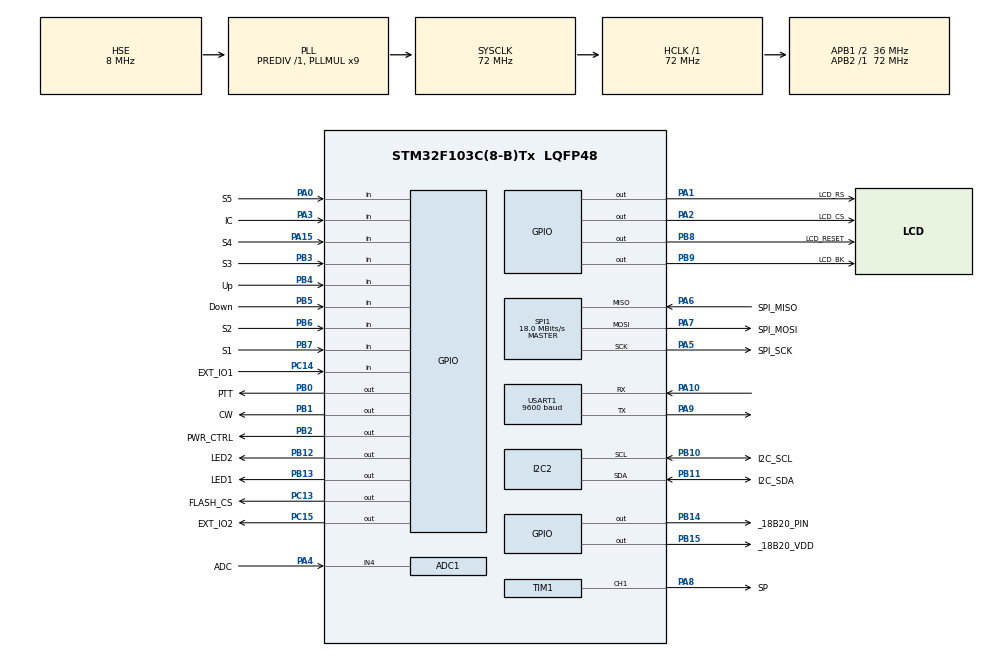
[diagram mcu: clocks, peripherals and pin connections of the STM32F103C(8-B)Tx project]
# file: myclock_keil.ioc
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ADC1.Channel-0\#ChannelRegularConversion=ADC_CHANNEL_TEMPSENSOR
ADC1.NbrOfConversionFlag=1
ADC1.Rank-0\#ChannelRegularConversion=1
ADC1.SamplingTime-0\#ChannelRegularConversion=ADC_SAMPLETIME_1CYCLE_5
ADC1.master=1
Dma.Request0=USART1_TX
Dma.Request1=USART1_RX
Dma.USART1_RX.1.Direction=DMA_PERIPH_TO_MEMORY
Dma.USART1_RX.1.Instance=DMA1_Channel5
Dma.USART1_RX.1.MemDataAlignment=DMA_MDATAALIGN_BYTE
Dma.USART1_RX.1.MemInc=DMA_MINC_ENABLE
Dma.USART1_RX.1.Mode=DMA_NORMAL
Dma.USART1_RX.1.PeriphDataAlignment=DMA_PDATAALIGN_BYTE
Dma.USART1_RX.1.PeriphInc=DMA_PINC_DISABLE
Dma.USART1_RX.1.Priority=DMA_PRIORITY_LOW
Dma.USART1_TX.0.Direction=DMA_MEMORY_TO_PERIPH
Dma.USART1_TX.0.Instance=DMA1_Channel4
Dma.USART1_TX.0.MemDataAlignment=DMA_MDATAALIGN_BYTE
Dma.USART1_TX.0.MemInc=DMA_MINC_ENABLE
Dma.USART1_TX.0.Mode=DMA_NORMAL
Dma.USART1_TX.0.PeriphDataAlignment=DMA_PDATAALIGN_BYTE
Dma.USART1_TX.0.PeriphInc=DMA_PINC_DISABLE
Dma.USART1_TX.0.Priority=DMA_PRIORITY_LOW
Mcu.Family=STM32F1
Mcu.Name=STM32F103C(8-B)Tx
Mcu.Package=LQFP48
NVIC.DMA1_Channel4_IRQn=true\:0\:0\:false\:false\:true\:false\:true\:true
NVIC.DMA1_Channel5_IRQn=true\:0\:0\:false\:false\:true\:false\:true\:true
NVIC.PriorityGroup=NVIC_PRIORITYGROUP_4
NVIC.USART1_IRQn=true\:0\:0\:false\:false\:true\:true\:true\:true
PA0-WKUP.GPIO_Label=S5
PA0-WKUP.GPIO_PuPd=GPIO_PULLDOWN
PA0-WKUP.Signal=GPIO_Input
PA1.GPIO_Label=LCD_RS
PA1.Signal=GPIO_Output
PA10.Mode=Asynchronous
PA10.Signal=USART1_RX
PA13.GPIO_Label=SWDIO
PA13.Mode=Serial_Wire
PA13.Signal=SYS_JTMS-SWDIO
PA14.GPIO_Label=SWCLK
PA14.Mode=Serial_Wire
PA14.Signal=SYS_JTCK-SWCLK
PA15.GPIO_Label=S4
PA15.GPIO_PuPd=GPIO_PULLDOWN
PA15.Signal=GPIO_Input
PA2.GPIO_Label=LCD_CS
PA2.Signal=GPIO_Output
PA3.GPIO_Label=IC
PA3.GPIO_PuPd=GPIO_PULLDOWN
PA3.Signal=GPIO_Input
PA4.GPIO_Label=ADC
PA4.Signal=ADCx_IN4
PA5.GPIO_Label=SPI_SCK
PA5.Mode=Full_Duplex_Master
PA5.Signal=SPI1_SCK
PA6.GPIO_Label=SPI_MISO
PA6.Mode=Full_Duplex_Master
PA6.Signal=SPI1_MISO
PA7.GPIO_Label=SPI_MOSI
PA7.Mode=Full_Duplex_Master
PA7.Signal=SPI1_MOSI
PA8.GPIO_Label=SP
PA8.Signal=S_TIM1_CH1
PA9.Mode=Asynchronous
PA9.Signal=USART1_TX
PB0.GPIO_Label=PTT
PB0.Signal=GPIO_Output
PB1.GPIO_Label=CW
PB1.Signal=GPIO_Output
PB10.GPIO_Label=I2C_SCL
PB10.GPIO_Pu=GPIO_PULLUP
PB10.Mode=I2C
PB10.Signal=I2C2_SCL
PB11.GPIO_Label=I2C_SDA
PB11.GPIO_Pu=GPIO_PULLUP
PB11.Mode=I2C
PB11.Signal=I2C2_SDA
PB12.GPIO_Label=LED2
PB12.Signal=GPIO_Output
PB13.GPIO_Label=LED1
PB13.Signal=GPIO_Output
PB14.GPIO_Label=_18B20_PIN
PB14.Signal=GPIO_Output
PB15.GPIO_Label=_18B20_VDD
PB15.Signal=GPIO_Output
PB2.GPIO_Label=PWR_CTRL
PB2.PinState=GPIO_PIN_SET
PB2.Signal=GPIO_Output
PB3.GPIO_Label=S3
PB3.GPIO_PuPd=GPIO_PULLDOWN
PB3.Signal=GPIO_Input
PB4.GPIO_Label=Up
PB4.GPIO_PuPd=GPIO_PULLDOWN
PB4.Signal=GPIO_Input
PB5.GPIO_Label=Down
PB5.GPIO_PuPd=GPIO_PULLDOWN
PB5.Signal=GPIO_Input
PB6.GPIO_Label=S2
PB6.GPIO_PuPd=GPIO_PULLDOWN
PB6.Signal=GPIO_Input
PB7.GPIO_Label=S1
PB7.GPIO_PuPd=GPIO_PULLDOWN
PB7.Signal=GPIO_Input
PB8.GPIO_Label=LCD_RESET
PB8.Signal=GPIO_Output
PB9.GPIO_Label=LCD_BK
PB9.Signal=GPIO_Output
PC13-TAMPER-RTC.GPIO_Label=FLASH_CS
PC13-TAMPER-RTC.GPIO_Speed=GPIO_SPEED_FREQ_HIGH
PC13-TAMPER-RTC.PinState=GPIO_PIN_SET
PC13-TAMPER-RTC.Signal=GPIO_Output
PC14-OSC32_IN.GPIO_Label=EXT_IO1
PC14-OSC32_IN.GPIO_PuPd=GPIO_PULLUP
PC14-OSC32_IN.Signal=GPIO_Input
PC15-OSC32_OUT.GPIO_Label=EXT_IO2
PC15-OSC32_OUT.GPIO_PuPd=GPIO_NOPULL
PC15-OSC32_OUT.GPIO_Speed=GPIO_SPEED_FREQ_MEDIUM
PC15-OSC32_OUT.PinState=GPIO_PIN_RESET
PC15-OSC32_OUT.Signal=GPIO_Output
PD0-OSC_IN.GPIO_Label=OSC_IN
PD0-OSC_IN.Mode=HSE-External-Oscillator
PD0-OSC_IN.Signal=RCC_OSC_IN
PD1-OSC_OUT.GPIO_Label=OSC_OUT
PD1-OSC_OUT.Mode=HSE-External-Oscillator
PD1-OSC_OUT.Signal=RCC_OSC_OUT
ProjectManager.HeapSize=0x200
ProjectManager.StackSize=0x400
ProjectManager.TargetToolchain=MDK-ARM V5.32
RCC.ADCPresc=RCC_ADCPCLK2_DIV6
RCC.AHBFreq_Value=72000000
RCC.APB1CLKDivider=RCC_HCLK_DIV2
RCC.APB1Freq_Value=36000000
RCC.APB1TimFreq_Value=72000000
RCC.APB2Freq_Value=72000000
RCC.APB2TimFreq_Value=72000000
RCC.HCLKFreq_Value=72000000
RCC.PLLMUL=RCC_PLL_MUL9
RCC.PLLSourceVirtual=RCC_PLLSOURCE_HSE
RCC.SYSCLKFreq_VALUE=72000000
RCC.SYSCLKSource=RCC_SYSCLKSOURCE_PLLCLK
RCC.USBFreq_Value=72000000
SH.ADCx_IN4.0=ADC1_IN4,IN4
SH.S_TIM1_CH1.0=TIM1_CH1,Output Compare1 CH1
SPI1.BaudRatePrescaler=SPI_BAUDRATEPRESCALER_4
SPI1.CalculateBaudRate=18.0 MBits/s
SPI1.Direction=SPI_DIRECTION_2LINES
SPI1.Mode=SPI_MODE_MASTER
SPI1.VirtualType=VM_MASTER
TIM1.Channel-Output\ Compare1\ CH1=TIM_CHANNEL_1
TIM1.OCMode_1=TIM_OCMODE_TOGGLE
TIM1.Period=1000
TIM1.Prescaler=72-1
USART1.BaudRate=9600
USART1.VirtualMode=VM_ASYNC
VP_ADC1_TempSens_Input.Mode=IN-TempSens
VP_ADC1_Vref_Input.Mode=IN-Vrefint
VP_TIM1_VS_ClockSourceINT.Mode=Internal
board=custom

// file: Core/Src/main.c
/* USER CODE BEGIN Header */
/**
  ******************************************************************************
  * @file           : main.c
  * @brief          : Main program body
  ******************************************************************************
  * @attention
  *
  * <h2><center>&copy; Copyright (c) 2021 STMicroelectronics.
  * All rights reserved.</center></h2>
  *
  * This software component is licensed by ST under BSD 3-Clause license,
  * the "License"; You may not use this file except in compliance with the
  * License. You may obtain a copy of the License at:
  *                        opensource.org/licenses/BSD-3-Clause
  *
  ******************************************************************************
  */
/* USER CODE END Header */
#include "main.h"
#include "adc.h"
#include "dma.h"
#include "i2c.h"
#include "spi.h"
#include "tim.h"
#include "usart.h"
#include "gpio.h"

/* USER CODE BEGIN Includes */
//#include "stdio.h"
//#include <stdlib.h>
#include "SD3078_rtc_task.h"
#include "ds18b20_task.h"
#include "Thermometer.h"
//#include "Lcd_Driver.h"
#include "GUI.h"
/* USER CODE END Includes */

void SystemClock_Config(void);
/* USER CODE BEGIN PFP */

//void DS18B20_function_set(void);
/* USER CODE END PFP */

int main(void)
{

  /* MCU Configuration--------------------------------------------------------*/

  /* Reset of all peripherals, Initializes the Flash interface and the Systick. */
  HAL_Init();

  /* Configure the system clock */
  SystemClock_Config();

  /* USER CODE BEGIN SysInit */
  SCB->VTOR = 0x08005000U;
  /* USER CODE END SysInit */

  /* Initialize all configured peripherals */
  MX_GPIO_Init();
  MX_DMA_Init();
  MX_I2C2_Init();
  MX_SPI1_Init();
  MX_TIM1_Init();
  MX_ADC1_Init();
  MX_USART1_UART_Init();
  /* USER CODE BEGIN 2 */
  MyClock_Init();
  /* USER CODE END 2 */

  /* Infinite loop */
  /* USER CODE BEGIN WHILE */

  while (1)
  {
	  /* Refresh display of time every second */
	  uint32_t old_second;
	  if(T_1000ms > old_second){
		Show_time(m.STATUS,0);
		old_second = T_1000ms;
	  }

	  /* Detect alarm and how to handle */
	  if(Read_RTC_int()==FALSE){
		  Alarm_handle();
	  }

	  /*  Detect key press for menu access and action */
	  if(Read_F1() || Read_F2() || Read_R() || Read_L() || Read_F3() || Read_F4() || Read_PwrKey()){
		  Blink_LED2();  //Blink LED2 while any key press

		  /* Exit to root menu from first level of sub-menu */
		  if(Read_F1()){
			  HAL_Delay(50);  //Avoid fake key press
	 		  if(Read_F1()==TRUE && m.MODE!=0 && m.STATUS!=9){  //Access allow under certain condition
	 			  Reset_menu();
	 			  HAL_Delay(300);  //Delay to avoid further key press trigger launch of utc action
	 		  }
		  }

		  /* Enter mode sub-menu when press F4 key or wheel R */
	  	  if(Read_F4() || Read_R()){
	  		  HAL_Delay(50);  //Avoid fake key press
	  		  if((Read_F4()==TRUE || Read_R()==TRUE) && m.STATUS==0 && m.LCD==TRUE){  //Access allow under certain condition
	  			  m.MODE++;  //Move pointer by one direction
		  		  if(m.MODE<=5){  //Sub-menu pointer boundary  m.MODE>0 &&
		  			  Draw_menu(m.MODE);  //Draw sub-menu according to MODE
		  		  }
		  		  else{
		  			  Reset_menu();  //Exit sub-menu when reach boundary
		  		  }
		  	  }
	  	  }

/******************************* root of the menu bar **********************************/
	  	  /* MODE=0, Root of the menu bar */
	  	  if(m.MODE==0){
	  		  /* Toggle LCD on/off for power saving */
 			  if(Read_PwrKey()==TRUE && m.STATUS==0){
 				  Display_on_off();
 				  HAL_Delay(300);  //Delay to avoid further key press trigger the shut down call
  			  }
 			  if(Read_L()==TRUE && m.STATUS==0){
 				  m.AL_mode^=0x01;
 				  ClearAlarm(m.AL_mode,m.IM);
 				  Draw_menu(0);
 			  }

 			  /* Root menu function access only when LCD is on */
 			  if(m.LCD==TRUE && m.STATUS==0){
 				  if(Read_F1()==TRUE){
 					  m.UTC ^= 0x01;  //Toggle local and UTC time
 					  Show_time(9,0);  //Set status=9 for time display update once
 				  }
 				  if(Read_F2()==TRUE){  //Access DS18B20 function set
 					  DS18B20_function_set();
 					  Show_time(9,0);  //Set status=9 for time display update once
 					  Reset_menu();  //Use of reset menu is depended on the function call
 				  }
 				  if(Read_F3()==TRUE){
 					  Draw_menu(10);  //Show Timer sub-menu
 					  m.STATUS=9;  //Flow control for Timer sub-menu access
 					  HAL_Delay(300);  //Delay to avoid further key press trigger sub-menu function directly
 				  }
 			  }

 			  /* Timer sub-menu access */
 	 		  if((Read_F1() || Read_F2() || Read_F3()) && m.STATUS==9){
 	 			  HAL_Delay(50);  //Avoid fake key press
 	 			  if(Read_F1()==TRUE){
 	 				  Reset_menu();  //Return to root menu
 	 				  HAL_Delay(300);  //Delay to avoid further key press trigger launch of utc action
 	 			  }
	 	 			  if(Read_F2()==TRUE){
	 	 				  Count_down();  //Call count down function
	 	 			  }
	 	 			  if(Read_F3()==TRUE){
	 	 				  Stop_watch();  //Call stop watch function
 	 			  }
 	 		  }
 		  }
/************************** end of root menu selection ****************************/

/****************************** entry of mode sub-menu ****************************/
 		  /*MODE=1, Show RTC register information and make configuration */
 		  if(m.MODE==1){
 	  		  if(Read_F2()==TRUE){
 	  			  Toggle_AMPM();
 	  		  }
	  		  if(Read_F3()==TRUE){
	  			  TnB_adjust_conf();  //Set SD3078 RTC temperature and battery configuration
	  		  }
	  	  }

	  	  /*  MODE=2, Set hourly repeat or one time alarm */
  		  if(m.MODE==2){
  			  if(Read_F2()==TRUE){
  				  Set_repeat_alarm();  //Set repeat alarm
  			  }
  			  if(Read_F3()==TRUE){
  				  Time_setting(m.MODE);  //Set one time alarm
  			  }
  		  }

  		  /* MODE=3, Set which weekday, IM and weekly alarm */
  		  if(m.MODE==3){
  			  if(Read_F2()==TRUE){
  				  Weekday_setting();  //Enable which weekday for alarm
  			  }
  			  if(Read_F3()==TRUE){
  				  Time_setting(m.MODE);  //Set weekday alarm
  			  }
  		  }

  		  /* MODE=4, Set current date&time to RTC, plus sub-menu function */
  		  if(m.MODE==4){
  			  if(Read_F2()==TRUE && m.STATUS==0){
  				  m.STATUS=9;  //Flow control for next sub-menu access
  				  Draw_menu(41);  //Show next sub-menu
  				  HAL_Delay(300);  //Delay to avoid further key press trigger sub-menu function directly
  			  }
  			  if((Read_F1() || Read_F2() || Read_F3()) && m.STATUS==9){
  				  HAL_Delay(50);  //Avoid fake key press
  				  if(Read_F1()==TRUE){  //Exit to previous sub-menu
  					  m.STATUS=0;
  					  Draw_menu(4);  //Redraw previous sub-menu
  				  }
		  		  if(Read_F2()==TRUE){
		  			  Draw_menu(42);  //Show next sub-menu
	  				  Show_RTC_info();  //Show SD3078 RTC information
	  				  Draw_menu(41);  //Redraw previous sub-menu
		  		  }
	  			  if(Read_F3()==TRUE){
	  				  Toggle_TS();  //Select temperature source to display
	  			  }
  			  }
  			  if(Read_F3()==TRUE && m.STATUS==0){
  				  Time_setting(m.MODE);  //Set current date&time
  			  }
  		  }

  		  /* MODE=5, Frequency Out and others */
  		  if(m.MODE==5){
  			  if(Read_F2()==TRUE && m.STATUS==0){
  				  m.STATUS=9;  //Flow control for next sub-menu access
  				  Draw_menu(51);  //Show next sub-menu
  				  HAL_Delay(300);  //Delay to avoid further key press trigger sub-menu function directly
  			  }
			  if((Read_F1() || Read_F2() || Read_F3()) && m.STATUS==9){
				  HAL_Delay(50);  //Avoid fake key press
  				  if(Read_F1()==TRUE){  //Exit to previous sub-menu
  					  m.STATUS=0;
  					  Draw_menu(5);  //Redraw previous sub-menu
  				  }
	  			  if(Read_F2()==TRUE){  //Reserve function call
	  				  /* Example */
//	  				  DS18B20_function_set();
//					  Draw_menu(51);  //Redraw next sub-menu
//	  				  Draw_title(enable);  //Redraw title if needed
	  			  }
	  			  if(Read_F3()==TRUE){  //Reserve function call
	  				  /* Example */
//	  				  Alarm_stop();
//					  Draw_menu(51);  //Redraw next sub-menu
//	  				  Draw_title(enable);  //Redraw title if needed
	  			  }
			  }
  			  if(Read_F3()==TRUE && m.STATUS==0){
  				  Freq_out();  //Execute Freq_Out function
  			  }
  		  }
/****************** end the loop for mode menu and relevant execution ******************/
	  }  //End if key detection

	  /* soft power switch */
	  if(Read_PwrKey())	//If F5 PwrKey press
	  {
		  HAL_Delay(1000);	//If over 1 second pressed
		  if(Read_PwrKey()==TRUE)  //Check again if PwrKey press, then MCU goto standby mode
		  {
			  __HAL_RCC_PWR_CLK_ENABLE();							//Begin low power standby mode procedure
			  if(__HAL_PWR_GET_FLAG(PWR_FLAG_SB) != RESET)			//Clear standby mode flag
				  __HAL_PWR_CLEAR_FLAG(PWR_FLAG_SB);
			  HAL_PWR_EnableWakeUpPin(PWR_WAKEUP_PIN1);				//Set PA0 as wake-up pin

			  /* when switch off, LED2 turn on and SP beep 0.2 second */
			  Blink_LED2();Beep(1);

			  HAL_GPIO_WritePin(GPIOB, GPIO_PIN_2, GPIO_PIN_RESET);	//Switch off external power supply
			  __HAL_PWR_CLEAR_FLAG(PWR_FLAG_WU);					//Clear all relevant wakeup flag
			  HAL_PWR_EnterSTANDBYMode();							//Enter standby mode
		  }
	  }

  }  // while(1) end

    /* USER CODE END WHILE */

}

void SystemClock_Config(void)
{
  RCC_OscInitTypeDef RCC_OscInitStruct = {0};
  RCC_ClkInitTypeDef RCC_ClkInitStruct = {0};
  RCC_PeriphCLKInitTypeDef PeriphClkInit = {0};

  /** Initializes the RCC Oscillators according to the specified parameters
  * in the RCC_OscInitTypeDef structure.
  */
  RCC_OscInitStruct.OscillatorType = RCC_OSCILLATORTYPE_HSE;
  RCC_OscInitStruct.HSEState = RCC_HSE_ON;
  RCC_OscInitStruct.HSEPredivValue = RCC_HSE_PREDIV_DIV1;
  RCC_OscInitStruct.HSIState = RCC_HSI_ON;
  RCC_OscInitStruct.PLL.PLLState = RCC_PLL_ON;
  RCC_OscInitStruct.PLL.PLLSource = RCC_PLLSOURCE_HSE;
  RCC_OscInitStruct.PLL.PLLMUL = RCC_PLL_MUL9;
  if (HAL_RCC_OscConfig(&RCC_OscInitStruct) != HAL_OK)
  {
    Error_Handler();
  }
  /** Initializes the CPU, AHB and APB buses clocks
  */
  RCC_ClkInitStruct.ClockType = RCC_CLOCKTYPE_HCLK|RCC_CLOCKTYPE_SYSCLK
                              |RCC_CLOCKTYPE_PCLK1|RCC_CLOCKTYPE_PCLK2;
  RCC_ClkInitStruct.SYSCLKSource = RCC_SYSCLKSOURCE_PLLCLK;
  RCC_ClkInitStruct.AHBCLKDivider = RCC_SYSCLK_DIV1;
  RCC_ClkInitStruct.APB1CLKDivider = RCC_HCLK_DIV2;
  RCC_ClkInitStruct.APB2CLKDivider = RCC_HCLK_DIV1;

  if (HAL_RCC_ClockConfig(&RCC_ClkInitStruct, FLASH_LATENCY_2) != HAL_OK)
  {
    Error_Handler();
  }
  PeriphClkInit.PeriphClockSelection = RCC_PERIPHCLK_ADC;
  PeriphClkInit.AdcClockSelection = RCC_ADCPCLK2_DIV6;
  if (HAL_RCCEx_PeriphCLKConfig(&PeriphClkInit) != HAL_OK)
  {
    Error_Handler();
  }
}

void Error_Handler(void)
{
  __disable_irq();
  while (1)
  {
  }
}

/************************ (C) COPYRIGHT STMicroelectronics *****END OF FILE****/
